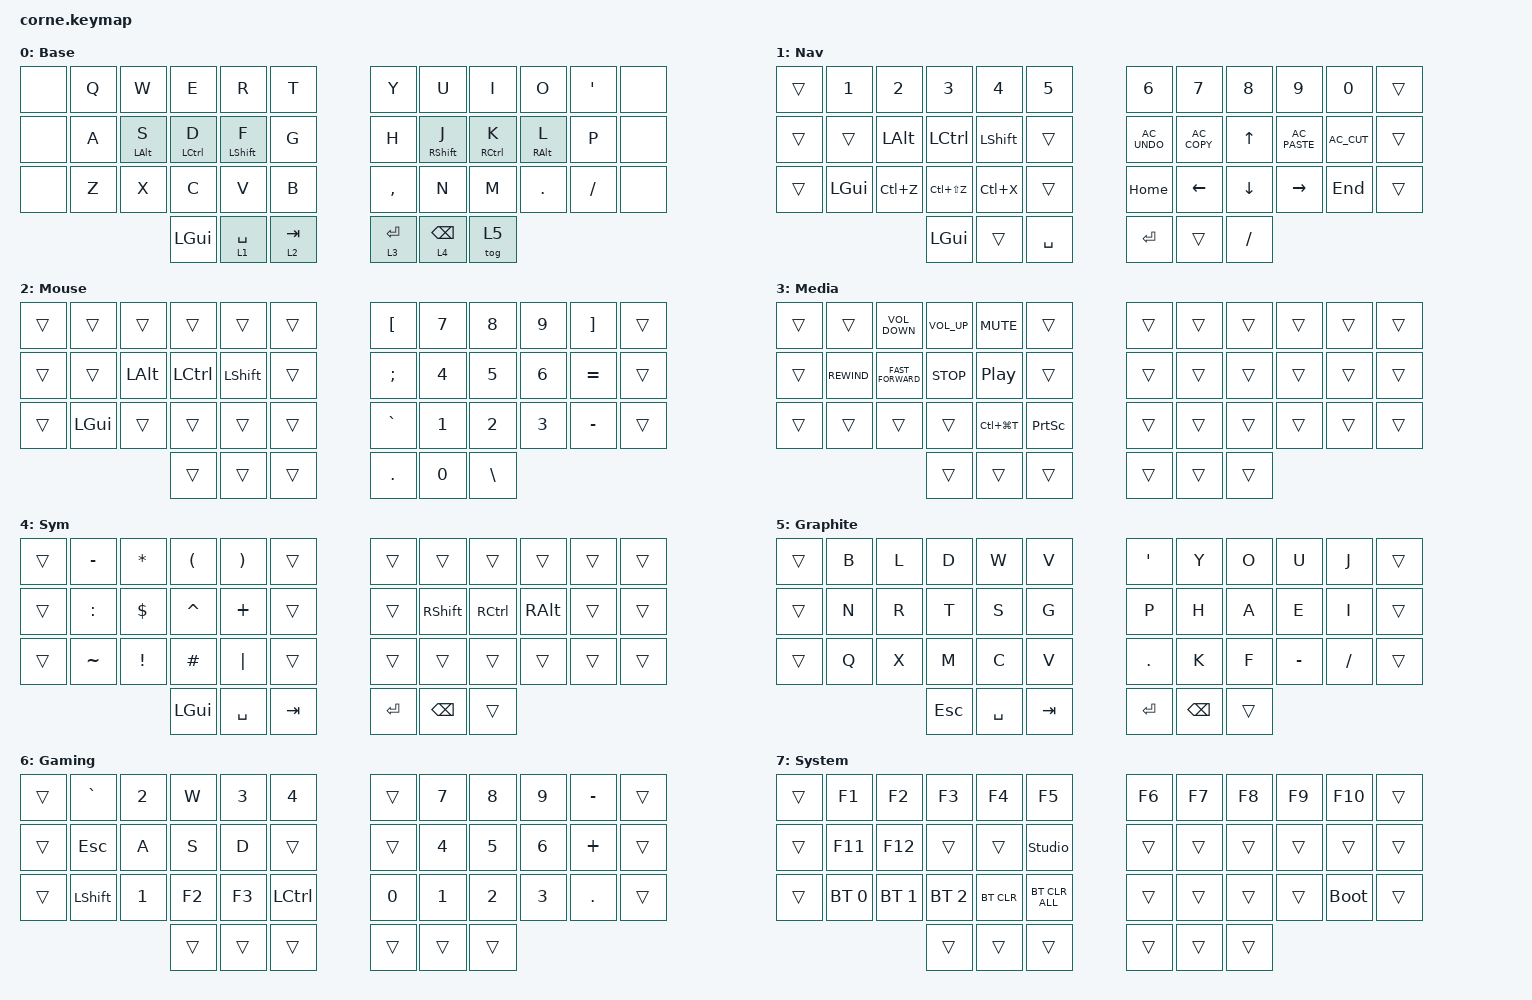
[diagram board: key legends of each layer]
#include <behaviors.dtsi>
#include <dt-bindings/zmk/bt.h>
#include <dt-bindings/zmk/keys.h>

#define DEF 0
#define NAV 1
#define SYM 2
#define ADJ 3
#define EXTRA 4

//testing mouse movement and scroll binds...

/ {
    behaviors {
        hm: homerow_mods {
            compatible = "zmk,behavior-hold-tap";
            label = "HOMEROW_MODS";
            #binding-cells = <2>;
            tapping-term-ms = <200>;
            quick_tap_ms = <0>;
            flavor = "tap-preferred";
            bindings = <&kp>, <&kp>;

            quick-tap-ms = <180>;
            global-quick-tap;
        };

        para: para {
            compatible = "zmk,behavior-tap-dance";
            label = "PARA";
            #binding-cells = <0>;
            bindings = <&kp LEFT_PARENTHESIS>, <&kp RIGHT_PARENTHESIS>;
        };

        caps: caps {
            compatible = "zmk,behavior-caps-word";
            label = "CAPS";
            #binding-cells = <0>;
            continue-list = <MINUS BACKSPACE>;
        };

        paraless: paraless {
            compatible = "zmk,behavior-mod-morph";
            label = "PARALESS";
            bindings = <&kp LEFT_PARENTHESIS>, <&kp LESS_THAN>;

            #binding-cells = <0>;
            mods = <(MOD_LSFT)>;
        };

        paragreat: paragreat {
            compatible = "zmk,behavior-mod-morph";
            label = "PARAGREAT";
            bindings = <&kp RIGHT_PARENTHESIS>, <&kp GREATER_THAN>;

            #binding-cells = <0>;
            mods = <(MOD_LSFT)>;
        };

        ShiftAdj: ShiftAdj {
            compatible = "zmk,behavior-mod-morph";
            label = "SHIFTADJ";
            bindings = <&none>, <&none>;

            #binding-cells = <0>;
            mods = <(MOD_LSFT)>;
        };
    };

    combos {
        compatible = "zmk,combos";

        escape {
            bindings = <&kp ESCAPE>;
            key-positions = <13 29>;
        };

        delete {
            bindings = <&kp DELETE>;
            key-positions = <15 21>;
        };

        perc {
            bindings = <&kp PERCENT>;
            key-positions = <5 17>;
        };

        equal {
            bindings = <&kp EQUAL>;
            key-positions = <28 16>;
        };

        dollar {
            bindings = <&kp DOLLAR>;
            key-positions = <4 16>;
        };

        pound {
            bindings = <&kp POUND>;
            key-positions = <3 15>;
        };

        at {
            bindings = <&kp AT>;
            key-positions = <2 14>;
        };

        backslash {
            bindings = <&kp BACKSLASH>;
            key-positions = <26 14>;
        };

        copy {
            bindings = <&kp LC(V)>;
            key-positions = <28 27>;
        };

        paste {
            bindings = <&kp LC(C)>;
            key-positions = <26 27>;
        };

        star {
            bindings = <&kp STAR>;
            key-positions = <8 20>;
        };

        slash {
            bindings = <&kp SLASH>;
            key-positions = <32 20>;
        };

        plus {
            bindings = <&kp PLUS>;
            key-positions = <7 19>;
        };

        minus {
            bindings = <&kp MINUS>;
            key-positions = <31 19>;
        };

        underscore {
            bindings = <&kp UNDER>;
            key-positions = <30 18>;
        };

        leftbrack {
            bindings = <&kp LEFT_BRACKET>;
            key-positions = <31 32>;
        };

        rightbrack {
            bindings = <&kp RIGHT_BRACKET>;
            key-positions = <33 32>;
        };

        para-less {
            bindings = <&paraless>;
            key-positions = <20 19>;
        };

        para-great {
            bindings = <&paragreat>;
            key-positions = <20 21>;
        };

        GamingLayer {
            bindings = <&tog 6>;
            key-positions = <38 39>;
        };
    };

    //

    keymap {
        compatible = "zmk,keymap";

        DEF {
            display-name = "Base";

            // -----------------------------------------------------------------------------------------
            // |  Q  |  W  |  E  |  R  |  T  |   |  Y  |  U   |  I  |  O  |  P  |
            // |  A  |  S  |  D  |  F  |  G  |   |  H  |  J   |  K  |  L  |  ;  |
            // |  Z  |  X  |  C  |  V  |  B  |   |  N  |  M   |  ,  |  .  |  /  |
            // | GUI | CTRL | SHFT | LWR | SPC |   | ENT | RSE  | BKSP | ALT | ESC |

            bindings = <
&none  &kp Q  &kp W           &kp E               &kp R             &kp T        &kp Y      &kp U              &kp I                &kp O            &kp APOSTROPHE  &none
&none  &kp A  &hm LEFT_ALT S  &hm LEFT_CONTROL D  &hm LEFT_SHIFT F  &kp G        &kp H      &hm RIGHT_SHIFT J  &hm RIGHT_CONTROL K  &hm RIGHT_ALT L  &kp P           &none
&none  &kp Z  &kp X           &kp C               &kp V             &kp B        &kp COMMA  &kp N              &kp M                &kp DOT          &kp FSLH        &none
                              &kp LEFT_GUI        &lt 1 SPACE       &lt 2 TAB    &lt 3 RET  &lt 4 BACKSPACE    &tog 5
            >;
        };

        NAV {
            display-name = "Nav";

            // -----------------------------------------------------------------------------------------
            // |  TAB |  1  |  2  |  3  |  4  |  5  |   |  6  |  7  |  8  |  9  |  0  | BKSP |
            // | BTCLR| BT1 | BT2 | BT3 | BT4 | BT5 |   | LFT | DWN |  UP | RGT |     |      |
            // | SHFT |     |     |     |     |     |   |     |     |     |     |     |      |
            // | GUI | CTRL | SHFT | LWR | SPC |   | ENT | RSE  | BKSP | ALT | ESC |

            bindings = <
&trans  &kp NUMBER_1  &kp N2        &kp N3            &kp N4          &kp N5       &kp N6         &kp N7         &kp N8     &kp N9          &kp N0        &trans
&trans  &trans        &kp LEFT_ALT  &kp LEFT_CONTROL  &kp LEFT_SHIFT  &trans       &kp C_AC_UNDO  &kp C_AC_COPY  &kp UP     &kp C_AC_PASTE  &kp C_AC_CUT  &trans
&trans  &kp LEFT_GUI  &kp LC(Z)     &kp LC(LS(Z))     &kp LC(X)       &trans       &kp HOME       &kp LEFT       &kp DOWN   &kp RIGHT       &kp END       &trans
                                    &kp LGUI          &trans          &kp SPACE    &kp RET        &trans         &kp SLASH
            >;
        };

        NUM {
            display-name = "Mouse";
            bindings = <
&trans  &trans        &trans        &trans            &trans          &trans    &kp LBKT   &kp N7  &kp N8    &kp N9  &kp RBKT   &trans
&trans  &trans        &kp LEFT_ALT  &kp LEFT_CONTROL  &kp LEFT_SHIFT  &trans    &kp SEMI   &kp N4  &kp N5    &kp N6  &kp EQUAL  &trans
&trans  &kp LEFT_GUI  &trans        &trans            &trans          &trans    &kp GRAVE  &kp N1  &kp N2    &kp N3  &kp MINUS  &trans
                                    &trans            &trans          &trans    &kp DOT    &kp N0  &kp BSLH
            >;
        };

        Media {
            bindings = <
&trans  &trans        &kp C_VOLUME_DOWN   &kp C_VOLUME_UP  &kp C_MUTE        &trans             &trans  &trans  &trans  &trans  &trans  &trans
&trans  &kp C_REWIND  &kp C_FAST_FORWARD  &kp C_STOP       &kp C_PLAY_PAUSE  &trans             &trans  &trans  &trans  &trans  &trans  &trans
&trans  &trans        &trans              &trans           &kp LC(LG(T))     &kp PRINTSCREEN    &trans  &trans  &trans  &trans  &trans  &trans
                                          &trans           &trans            &trans             &trans  &trans  &trans
            >;
        };

        SYM {
            display-name = "Sym";

            // -----------------------------------------------------------------------------------------
            // |  TAB |  !  |  @  |  #  |  $  |  %  |   |  ^  |  &  |  *  |  (  |  )  | BKSP |
            // | CTRL |     |     |     |     |     |   |  -  |  =  |  [  |  ]  |  \  |  `   |
            // | SHFT |     |     |     |     |     |   |  _  |  +  |  {  |  }  | "|" |  ~   |
            //                    | GUI |     | SPC |   | ENT |     | ALT |

            bindings = <
&trans  &kp MINUS  &kp ASTRK   &kp LEFT_PARENTHESIS  &kp RIGHT_PARENTHESIS  &trans     &trans     &trans           &trans             &trans         &trans  &trans
&trans  &kp COLON  &kp DOLLAR  &kp CARET             &kp PLUS               &trans     &trans     &kp RIGHT_SHIFT  &kp RIGHT_CONTROL  &kp RIGHT_ALT  &trans  &trans
&trans  &kp TILDE  &kp EXCL    &kp HASH              &kp PIPE               &trans     &trans     &trans           &trans             &trans         &trans  &trans
                               &kp LGUI              &kp SPACE              &kp TAB    &kp ENTER  &kp BACKSPACE    &trans
            >;
        };

        Graphite {
            bindings = <
&trans  &kp B  &kp L  &kp D    &kp W      &kp V      &kp SQT  &kp Y     &kp O   &kp U      &kp J      &trans
&trans  &kp N  &kp R  &kp T    &kp S      &kp G      &kp P    &kp H     &kp A   &kp E      &kp I      &trans
&trans  &kp Q  &kp X  &kp M    &kp C      &kp V      &kp DOT  &kp K     &kp F   &kp MINUS  &kp SLASH  &trans
                      &kp ESC  &kp SPACE  &kp TAB    &kp RET  &kp BSPC  &trans
            >;
        };

        Gaming {
            bindings = <
&trans  &kp GRAVE  &kp N2  &kp W   &kp N3  &kp N4       &trans  &kp N7  &kp N8  &kp N9  &kp MINUS  &trans
&trans  &kp ESC    &kp A   &kp S   &kp D   &trans       &trans  &kp N4  &kp N5  &kp N6  &kp PLUS   &trans
&trans  &kp LSHFT  &kp N1  &kp F2  &kp F3  &kp LCTRL    &kp N0  &kp N1  &kp N2  &kp N3  &kp DOT    &trans
                           &trans  &trans  &trans       &trans  &trans  &trans
            >;
        };

        Adj {
            display-name = "System";
            bindings = <
&trans  &kp F1        &kp F2        &kp F3        &kp F4      &kp F5            &kp F6  &kp F7  &kp F8  &kp F9  &kp F10      &trans
&trans  &kp F11       &kp F12       &trans        &trans      &studio_unlock    &trans  &trans  &trans  &trans  &trans       &trans
&trans  &bt BT_SEL 0  &bt BT_SEL 1  &bt BT_SEL 2  &bt BT_CLR  &bt BT_CLR_ALL    &trans  &trans  &trans  &trans  &bootloader  &trans
                                    &trans        &trans      &trans            &trans  &trans  &trans
            >;
        };
    };

    conditional_layers {
        compatible = "zmk,conditional-layers";

        l3 {
            if-layers = <1 4>;
            then-layer = <7>;
        };
    };
};
